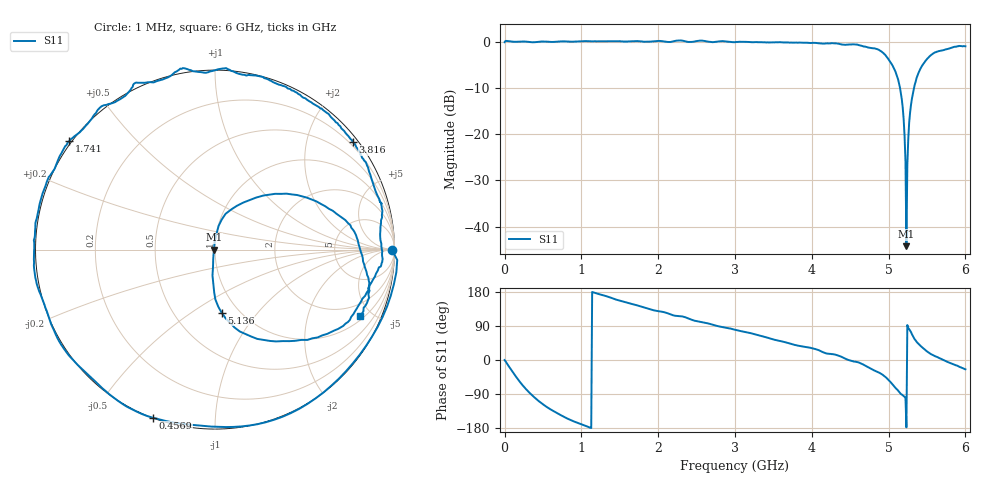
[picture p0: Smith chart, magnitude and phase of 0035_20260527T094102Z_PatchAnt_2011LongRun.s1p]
# Hz S RI R 50
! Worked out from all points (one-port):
!   501 points, 1 MHz to 6 GHz, reference 50 ohm
!   lowest |S11| = -44.2 dB at 5.232 GHz (marker M1), VSWR 1.01, Z = 49.4 - j0.0231 ohm
!   |S11| at or under -10 dB: 5.149 GHz to 5.332 GHz (182.7 MHz wide, 3.49 % of centre)
!   S11 on the Smith chart (normalised r, x): 1 MHz: open; 456.9 MHz: 0.00, -0.70; 1.741 GHz: -0.01, +0.33; 3.816 GHz: 0.13, +2.90; 5.136 GHz: 0.83, -0.67; 6 GHz: 1.18, -4.26
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1000000  0.9872 -0.00339
8.4986e7  0.9063 -0.4306
2.28962e8  0.422 -0.9112
3.12948e8  0.103 -0.9879
4.56924e8  -0.3461 -0.9367
7.56874e8  -0.8559 -0.5313
1.068822e9  -1.009 -0.0899
1.50075e9  -0.9264 0.4044
1.74071e9  -0.8121 0.6053
2.256624e9  -0.4521 0.9236
3.0005e9  0.1745 0.9695
3.756374e9  0.7357 0.6401
3.816364e9  0.7669 0.5997
4.308282e9  0.9289 0.2325
4.50025e9  0.9307 -0.0207
4.872188e9  0.6863 -0.4418
5.028162e9  0.3076 -0.509
5.136144e9  0.0367 -0.3508
5.184136e9  -0.00922 -0.193
5.196134e9  -0.014 -0.1449
5.208132e9  -0.011 -0.0947
5.232128e9  -0.00615 -0.000234
5.256124e9  0.00835 0.0876
5.268122e9  0.02 0.1321
5.292118e9  0.0588 0.1994
5.412098e9  0.3972 0.3117
5.628062e9  0.7702 0.1089
6e9  0.8094 -0.3717
